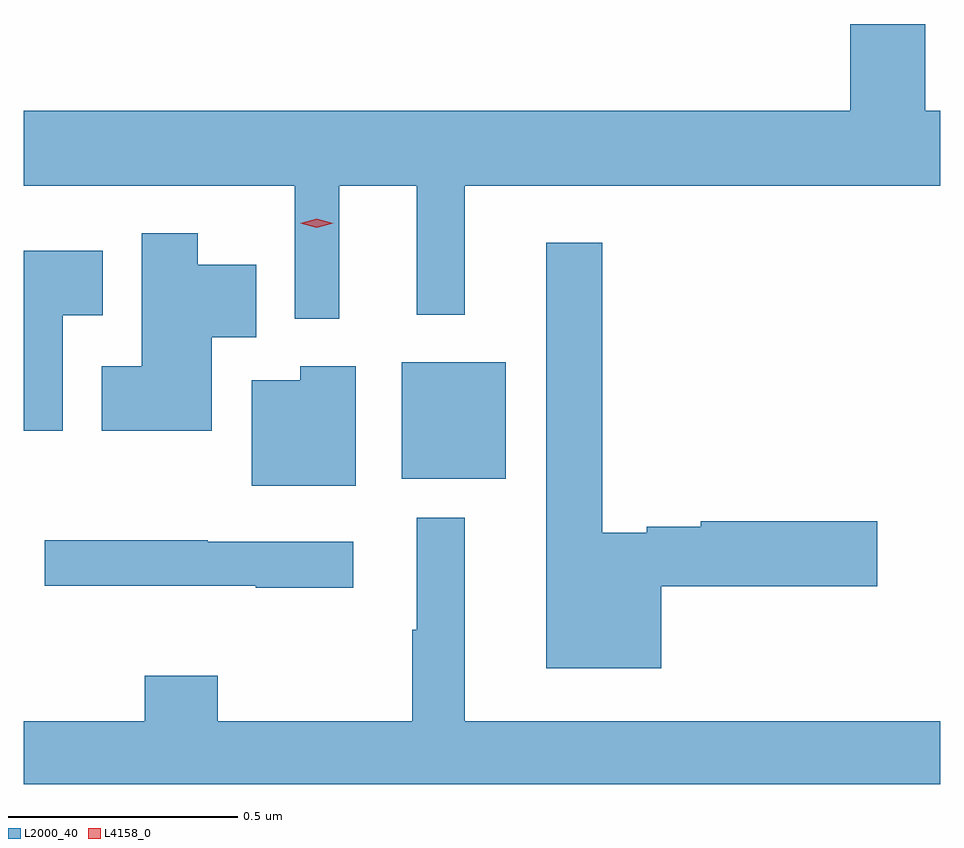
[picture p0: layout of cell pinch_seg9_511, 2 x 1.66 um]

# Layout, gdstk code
import gdstk
lib = gdstk.Library(unit=1e-6, precision=1e-09)
def R(c, l, rs):  # rectangles x0, y0, x1, y1
    for r in rs: c.add(gdstk.rectangle(r[:2], r[2:], *l))
def P(c, l, *ps):  # polygons
    for p in ps: c.add(gdstk.Polygon(p, *l))
L2000_40 = (2000, 40)
L4158_0 = (4158, 0)

pinch_seg9_511 = lib.new_cell('pinch_seg9_511')
R(pinch_seg9_511, L2000_40, [(391.802,1199.777,392.029,1200.031)])
P(pinch_seg9_511, L2000_40, [(391.666,1200.416),(391.835,1200.416),(391.835,1200.135),(391.939,1200.135),(391.939,1200.416),(392.977,1200.416),(392.977,1200.58),(392.944,1200.58),(392.944,1200.769),(392.78,1200.769),(392.78,1200.58),(390.977,1200.58),(390.977,1200.416),(391.569,1200.416),(391.569,1200.126),(391.666,1200.126)],
  [(391.387,1200.086),(391.484,1200.086),(391.484,1200.244),(391.357,1200.244),(391.357,1200.313),(391.235,1200.313),(391.235,1200.022),(391.147,1200.022),(391.147,1199.882),(391.387,1199.882)],
  [(392.368,1199.542),(392.839,1199.542),(392.839,1199.684),(392.454,1199.684),(392.454,1199.672),(392.336,1199.672),(392.336,1199.659),(392.239,1199.659),(392.239,1200.292),(392.117,1200.292),(392.117,1199.363),(392.368,1199.363)],
  [(391.062,1200.134),(391.15,1200.134),(391.15,1200.274),(390.977,1200.274),(390.977,1199.882),(391.062,1199.882)],
  [(391.702,1200.022),(391.58,1200.022),(391.58,1199.992),(391.475,1199.992),(391.475,1199.762),(391.702,1199.762)],
  [(392.977,1199.248),(391.939,1199.248),(391.939,1199.692),(391.835,1199.692),(391.835,1199.447),(391.825,1199.447),(391.825,1199.248),(391.401,1199.248),(391.401,1199.347),(391.241,1199.347),(391.241,1199.248),(390.977,1199.248),(390.977,1199.111),(392.977,1199.111)],
  [(391.696,1199.64),(391.379,1199.64),(391.379,1199.643),(391.023,1199.643),(391.023,1199.543),(391.483,1199.543),(391.483,1199.539),(391.696,1199.539)])
P(pinch_seg9_511, L4158_0, [(391.617,1200.324),(391.581,1200.334),(391.581,1200.334),(391.581,1200.334),(391.617,1200.344),(391.653,1200.334),(391.653,1200.334),(391.653,1200.334)])

lib.write_gds('pinch_seg9_511.gds')
